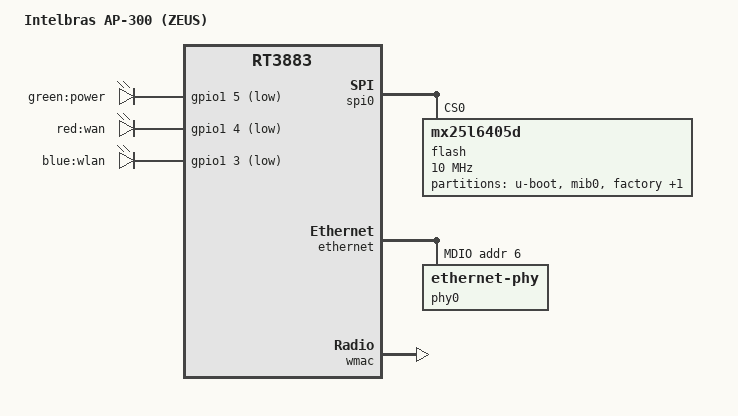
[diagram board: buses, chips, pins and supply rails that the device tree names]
#include "rt3883.dtsi"

#include <dt-bindings/gpio/gpio.h>
#include <dt-bindings/input/input.h>

/ {
	compatible = "intelbras,ap-300", "ralink,rt3662-soc", "ralink,rt3883-soc";
	model = "Intelbras AP-300 (ZEUS)";

	aliases {
		led-boot = &led_power;
		led-failsafe = &failsafe;
		led-running = &led_power;
		led-upgrade = &led_power;
	};

	leds {
		compatible = "gpio-leds";

		led_power: power {
			label = "green:power";
			gpios = <&gpio1 5 GPIO_ACTIVE_LOW>;
		};

		failsafe: wan {
			label = "red:wan";
			gpios = <&gpio1 4 GPIO_ACTIVE_LOW>;
		};

		wlan {
			label = "blue:wlan";
			gpios = <&gpio1 3 GPIO_ACTIVE_LOW>;
		};
	};
};

&gpio1 {
	status = "okay";
};

&spi0 {
	status = "okay";

	flash@0 {
		compatible = "mx25l6405d","jedec,spi-nor";
		reg = <0>;
		spi-max-frequency = <10000000>;

		partitions {
			compatible = "fixed-partitions";
			#address-cells = <1>;
			#size-cells = <1>;

			partition@0 {
				label = "u-boot";
				reg = <0x0 0x30000>;
				read-only;
			};

			partition@30000 {
				label = "mib0";
				reg = <0x30000 0x10000>;
				read-only;
			};

			factory: partition@40000 {
				label = "factory";
				reg = <0x40000 0x10000>;
				read-only;
			};

			partition@50000 {
				compatible = "denx,uimage";
				label = "firmware";
				reg = <0x50000 0x7b0000>;
			};
		};
	};
};

&ethernet {
	status = "okay";
	nvmem-cells = <&macaddr_factory_4>;
	nvmem-cell-names = "mac-address";
	mac-address-increment = <1>;	

	port@0 {
		phy-handle = <&phy0>;
		mediatek,fixed-link = <100 1 1 1>;
	};

	mdio-bus {
		status = "okay";

		phy0: ethernet-phy@0 {
			phy-mode = "mii";
			reg = <6>;
		};
	};
};

&wmac {
	status = "okay";

	ralink,5ghz = <0>;
	ralink,mtd-eeprom = <&factory 0x0>;
};

&factory {
	compatible = "nvmem-cells";
	#address-cells = <1>;
	#size-cells = <1>;

	macaddr_factory_4: macaddr@4 {
		reg = <0x4 0x6>;
	};
};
